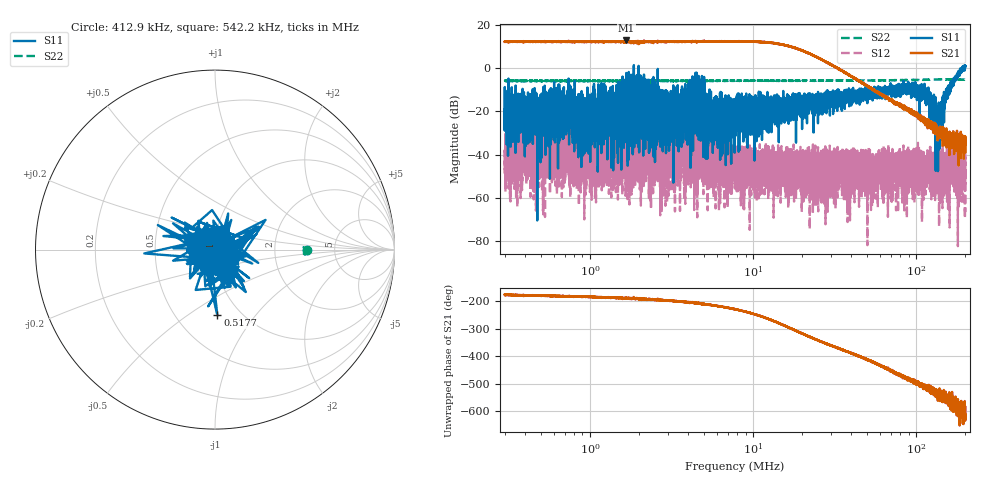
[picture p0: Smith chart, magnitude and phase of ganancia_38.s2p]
# Hz S DB R 50
! CMT, M5065, 19127446, 24.2.4/2
! Date: 11/1/2024 4:37:21 PM
! Data: Format (Calibration Info)
! Freq	S11:dB/Ang(F2)	S21:dB/Ang(F2)	S12:dB/Ang(F2)	S22:dB/Ang(F2)
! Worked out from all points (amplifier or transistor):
!   9000 points, 300 kHz to 200 MHz, reference 50 ohm
!   highest |S21| = 12.8 dB at 1.67 MHz (marker M1)
!   |S21| within 3 dB of that: start of sweep to 17.09 MHz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
!   unconditionally stable (mu >= 1): start of sweep to 1.839 MHz; 2.605 MHz to 190.4 MHz; 190.7 MHz to 192 MHz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
!   at 886.8 kHz: K = 26.19, MAG = 13.4 dB, |S12| = -49.1 dB
!   at 7.749 MHz: K = 27.35, MAG = 13.7 dB, |S12| = -49.8 dB
!   at 200 MHz: K = -1341.57, MSG = 8.8 dB, |S12| = -50.0 dB
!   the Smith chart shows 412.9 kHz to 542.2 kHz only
!   S11 on the Smith chart (normalised r, x): 412.9 kHz: 1.03, -0.16; 517.7 kHz: 0.78, -0.66; 542.2 kHz: 0.93, -0.01
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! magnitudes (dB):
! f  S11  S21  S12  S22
! 300 kHz  -18.9  12.2  -46.5  -5.9
! 311.5 kHz  -20.3  12.1  -42.6  -5.8
! 412.9 kHz  -22.0  12.2  -43.2  -5.8
! 517.7 kHz  -8.7  12.2  -36.0  -5.9
! 542.2 kHz  -29.2  12.2  -46.7  -5.9
! 738.1 kHz  -19.6  12.2  -45.4  -5.9
! 886.8 kHz  -22.4  12.1  -49.1  -5.9
! 1.67 MHz  -2.2  12.8  -34.8  -6.0
! 2.621 MHz  -30.7  12.2  -39.5  -5.9
! 2.83 MHz  -14.3  12.3  -37.0  -5.9
! 3.886 MHz  -26.6  12.2  -39.6  -5.9
! 4.157 MHz  -16.5  12.1  -42.3  -5.9
! 4.494 MHz  -20.1  12.3  -30.2  -6.0
! 5.415 MHz  -18.0  12.4  -47.4  -5.9
! 7.749 MHz  -20.4  12.4  -49.8  -5.9
! 22.91 MHz  -14.8  6.3  -48.3  -5.8
! 67.71 MHz  -9.4  -14.4  -38.0  -5.6
! 109.3 MHz  -14.4  -23.4  -38.6  -5.4
! 135.7 MHz  -22.9  -28.2  -42.0  -5.2
! 159.4 MHz  -9.3  -31.7  -42.0  -5.2
! 191.4 MHz  -0.4  -37.9  -45.2  -5.3
! 200 MHz  1.1  -32.5  -50.0  -5.3
